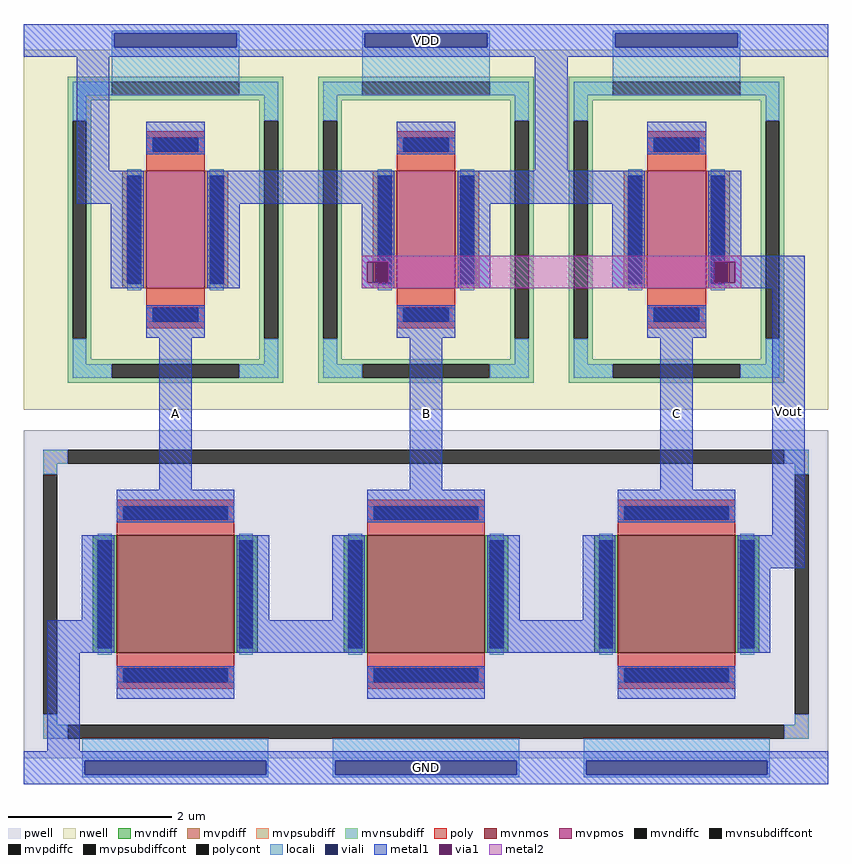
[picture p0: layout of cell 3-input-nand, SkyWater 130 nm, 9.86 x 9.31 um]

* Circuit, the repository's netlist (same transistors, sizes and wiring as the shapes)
** sch_path: /foss/designs/final-circuits/3-input-nand.sch
.subckt 3-input-nand C B A Vout GND VDD
*.PININFO A:I B:I Vout:O C:I VDD:I GND:I
XM1 Vout C VDD VDD sky130_fd_pr__pfet_g5v0d10v5 L=0.720 W=1.44 nf=1 m=1
XM2 Vout B VDD VDD sky130_fd_pr__pfet_g5v0d10v5 L=0.720 W=1.44 nf=1 m=1
XM3 Vout A VDD VDD sky130_fd_pr__pfet_g5v0d10v5 L=0.720 W=1.44 nf=1 m=1
XM4 Vout C net1 GND sky130_fd_pr__nfet_g5v0d10v5 L=1.44 W=1.44 nf=1 m=1
XM5 net1 B net2 GND sky130_fd_pr__nfet_g5v0d10v5 L=1.44 W=1.44 nf=1 m=1
XM6 net2 A GND GND sky130_fd_pr__nfet_g5v0d10v5 L=1.44 W=1.44 nf=1 m=1
.ends
.end

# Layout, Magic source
magic
tech sky130A
magscale 1 2
<< nwell >>
rect 2023 -528 2065 354
rect 3953 -528 3995 354
<< mvpsubdiff >>
rect 2071 -660 2131 -626
rect 3887 -660 3947 -626
rect 2071 -686 2105 -660
rect 2071 -1300 2105 -1274
rect 3913 -686 3947 -660
rect 3913 -1300 3947 -1274
rect 2071 -1334 2131 -1300
rect 3887 -1334 3947 -1300
<< mvpsubdiffcont >>
rect 2131 -660 3887 -626
rect 2071 -1274 2105 -686
rect 3913 -1274 3947 -686
rect 2131 -1334 3887 -1300
<< locali >>
rect 2239 394 2551 400
rect 2239 360 2245 394
rect 2545 360 2551 394
rect 2239 242 2551 360
rect 2853 394 3165 400
rect 2853 360 2859 394
rect 3159 360 3165 394
rect 2853 242 3165 360
rect 3467 394 3779 400
rect 3467 360 3473 394
rect 3773 360 3779 394
rect 3467 242 3779 360
rect 2071 -660 2131 -626
rect 3887 -660 3947 -626
rect 2071 -686 2105 -660
rect 2071 -1300 2105 -1274
rect 3913 -686 3947 -660
rect 3913 -1300 3947 -1274
rect 2071 -1334 2131 -1300
rect 3887 -1334 3947 -1300
rect 2167 -1388 2623 -1334
rect 2167 -1422 2173 -1388
rect 2617 -1422 2623 -1388
rect 2167 -1428 2623 -1422
rect 2781 -1388 3237 -1334
rect 2781 -1422 2787 -1388
rect 3231 -1422 3237 -1388
rect 2781 -1428 3237 -1422
rect 3395 -1388 3851 -1334
rect 3395 -1422 3401 -1388
rect 3845 -1422 3851 -1388
rect 3395 -1428 3851 -1422
<< viali >>
rect 2245 360 2545 394
rect 2859 360 3159 394
rect 3473 360 3773 394
rect 2173 -1422 2617 -1388
rect 2787 -1422 3231 -1388
rect 3401 -1422 3845 -1388
<< metal1 >>
rect 2023 394 3995 417
rect 2023 360 2245 394
rect 2545 360 2859 394
rect 3159 360 3473 394
rect 3773 360 3995 394
rect 2023 337 3995 360
rect 2153 57 2233 337
rect 2323 98 2467 178
rect 2937 98 3081 178
rect 3276 57 3356 337
rect 3551 98 3695 178
rect 2153 -23 2317 57
rect 2237 -231 2317 -23
rect 2473 -23 2931 57
rect 2473 -231 2553 -23
rect 2851 -165 2931 -23
rect 2851 -217 2865 -165
rect 2917 -217 2931 -165
rect 2851 -231 2931 -217
rect 3087 -23 3545 57
rect 3087 -231 3167 -23
rect 3465 -231 3545 -23
rect 3701 -151 3781 57
rect 3701 -165 3937 -151
rect 3701 -217 3715 -165
rect 3767 -217 3937 -165
rect 3701 -231 3937 -217
rect 2323 -352 2467 -272
rect 2937 -352 3081 -272
rect 3551 -352 3695 -272
rect 2355 -724 2435 -352
rect 2969 -724 3049 -352
rect 3583 -724 3663 -352
rect 2251 -804 2539 -724
rect 2865 -804 3153 -724
rect 3479 -804 3767 -724
rect 3857 -836 3937 -231
rect 2165 -1044 2245 -836
rect 2081 -1124 2245 -1044
rect 2545 -1044 2625 -836
rect 2779 -1044 2859 -836
rect 2545 -1124 2859 -1044
rect 3159 -1044 3239 -836
rect 3393 -1044 3473 -836
rect 3159 -1124 3473 -1044
rect 3773 -916 3937 -836
rect 3773 -1124 3853 -916
rect 2081 -1365 2161 -1124
rect 2251 -1236 2539 -1156
rect 2865 -1236 3153 -1156
rect 3479 -1236 3767 -1156
rect 2023 -1388 3995 -1365
rect 2023 -1422 2173 -1388
rect 2617 -1422 2787 -1388
rect 3231 -1422 3401 -1388
rect 3845 -1422 3995 -1388
rect 2023 -1445 3995 -1422
<< via1 >>
rect 2865 -217 2917 -165
rect 3715 -217 3767 -165
<< metal2 >>
rect 2851 -165 3781 -151
rect 2851 -217 2865 -165
rect 2917 -217 3715 -165
rect 3767 -217 3781 -165
rect 2851 -231 3781 -217
use sky130_fd_pr__pfet_g5v0d10v5_CY7YBN  XM1
transform 1 0 3623 0 1 -87
box -330 -441 330 441
use sky130_fd_pr__pfet_g5v0d10v5_CY7YBN  XM2
transform 1 0 3009 0 1 -87
box -330 -441 330 441
use sky130_fd_pr__pfet_g5v0d10v5_CY7YBN  XM3
transform 1 0 2395 0 1 -87
box -330 -441 330 441
use sky130_fd_pr__nfet_g5v0d10v5_3Y2F6P  XM4
transform 1 0 3623 0 1 -980
box -372 -402 372 402
use sky130_fd_pr__nfet_g5v0d10v5_3Y2F6P  XM5
transform 1 0 3009 0 1 -980
box -372 -402 372 402
use sky130_fd_pr__nfet_g5v0d10v5_3Y2F6P  XM6
transform 1 0 2395 0 1 -980
box -372 -402 372 402
<< labels >>
flabel metal1 2023 -1428 3995 -1382 0 FreeSans 160 0 0 0 GND
port 0 nsew
flabel metal1 2023 354 3995 400 0 FreeSans 160 0 0 0 VDD
port 1 nsew
flabel metal1 2372 -804 2418 -272 0 FreeSans 160 0 0 0 A
port 2 nsew
flabel metal1 2986 -804 3032 -272 0 FreeSans 160 0 0 0 B
port 3 nsew
flabel metal1 3600 -804 3646 -272 0 FreeSans 160 0 0 0 C
port 4 nsew
flabel metal1 3857 -916 3937 -151 0 FreeSans 160 0 0 0 Vout
port 5 nsew
<< end >>

# cell sky130_fd_pr__pfet_g5v0d10v5_CY7YBN: kit device sky130_fd_pr__pfet_g5v0d10v5, w 1.44 l 0.72 m 1 nf 1 diffcov 100 polycov 100 guard 1 glc 1 grc 1 gtc 1 gbc 1 tbcov 100 rlcov 100 topc 1 botc 1 poverlap 0 doverlap 1 lmin 0.50 wmin 0.42 class mosfet compatible {sky130_fd_pr__pfet_01v8 sky130_fd_pr__pfet_01v8_lvt sky130_fd_pr__pfet_01v8_hvt sky130_fd_pr__pfet_g5v0d10v5} full_metal 1 viasrc 100 viadrn 100 viagate 100 viagb 0 viagr 0 viagl 0 viagt 0

# cell sky130_fd_pr__nfet_g5v0d10v5_3Y2F6P: kit device sky130_fd_pr__nfet_g5v0d10v5, w 1.44 l 1.44 m 1 nf 1 diffcov 100 polycov 100 guard 1 glc 1 grc 1 gtc 1 gbc 1 tbcov 100 rlcov 100 topc 1 botc 1 poverlap 0 doverlap 1 lmin 0.50 wmin 0.42 class mosfet compatible {sky130_fd_pr__nfet_01v8 sky130_fd_pr__nfet_01v8_lvt sky130_fd_bs_flash__special_sonosfet_star sky130_fd_pr__nfet_g5v0d10v5 sky130_fd_pr__nfet_05v0_nvt sky130_fd_pr__nfet_03v3_nvt} full_metal 1 viasrc 100 viadrn 100 viagate 100 viagb 0 viagr 0 viagl 0 viagt 0
